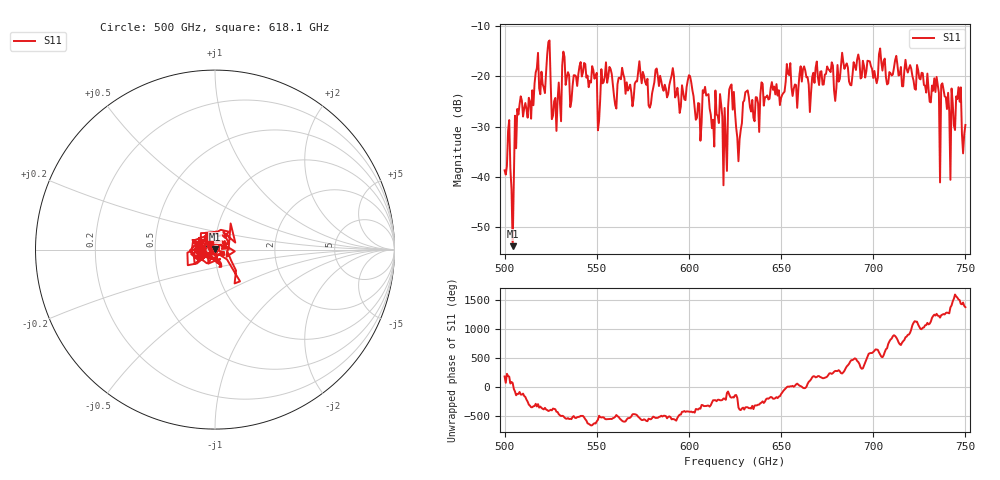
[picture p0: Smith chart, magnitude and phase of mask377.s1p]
!Created with skrf (http://scikit-rf.org).
# GHz S MA R 50.0
!freq magS11 angS11
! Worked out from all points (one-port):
!   401 points, 500 GHz to 750 GHz, reference 50 ohm
!   lowest |S11| = -53.7 dB at 504.4 GHz (marker M1), VSWR 1.00, Z = 50.1 + j0.189 ohm
!   |S11| at or under -10 dB: start of sweep to end of sweep
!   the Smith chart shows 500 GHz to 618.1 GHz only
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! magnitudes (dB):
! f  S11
! 500 GHz  -38.7
! 501.9 GHz  -30.9
! 504.4 GHz  -53.7
! 508.1 GHz  -25.6
! 523.8 GHz  -13.2
! 526.9 GHz  -25.0
! 531.2 GHz  -17.9
! 548.8 GHz  -20.5
! 551.9 GHz  -24.6
! 553.8 GHz  -21.2
! 562.5 GHz  -20.3
! 593.8 GHz  -22.3
! 600.6 GHz  -20.0
! 605.6 GHz  -25.5
! 609.4 GHz  -23.9
! 616.9 GHz  -23.6
! 619.4 GHz  -26.3
! 622.5 GHz  -22.0
! 625 GHz  -27.2
! 626.9 GHz  -36.9
! 630.6 GHz  -23.2
! 656.2 GHz  -23.9
! 687.5 GHz  -21.7
! 718.8 GHz  -19.3
! 738.1 GHz  -22.6
! 743.1 GHz  -25.3
! 746.2 GHz  -22.2
! 750 GHz  -29.7
